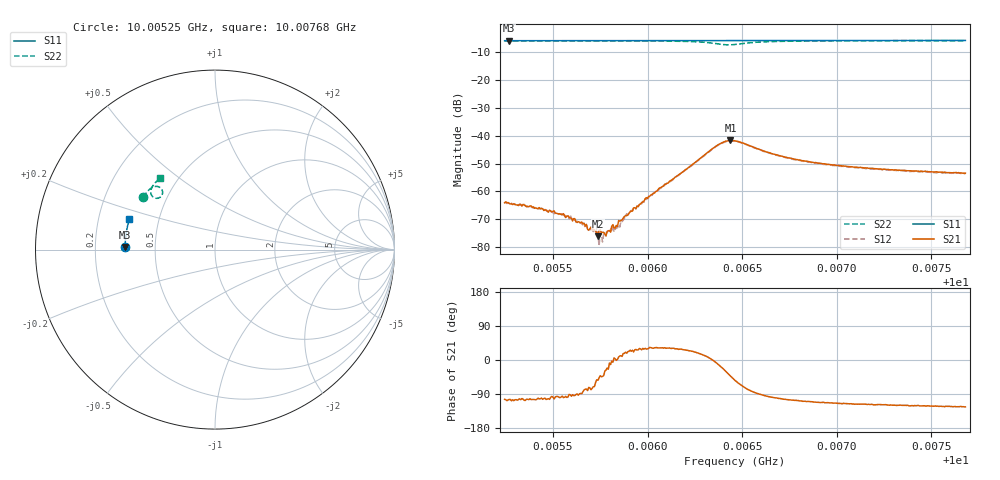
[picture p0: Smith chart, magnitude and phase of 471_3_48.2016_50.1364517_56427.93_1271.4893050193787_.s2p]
#  HZ  S  RI  R  50.00
! Rohde & Schwarz Vector Network Analyzer
! Rohde-Schwarz,ZNB20-2Port,1311601062101988,3.16
! Created: UTC 3/20/2024, 11:57:10 AM
! freq[Hz]  re:S11  im:S11  re:S21  im:S21  re:S12  im:S12  re:S22  im:S22
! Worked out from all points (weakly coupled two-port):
!   401 points, 10.00525 GHz to 10.00768 GHz, reference 50 ohm
!   highest |S21| = -41.73 dB at 10.00644 GHz (marker M1); lowest = -76.1 dB at 10.00574 GHz (marker M2)
!   lowest |S11| = -6.0 dB at 10.00527 GHz (marker M3), VSWR 3.01, Z = 16.6 + j0.636 ohm
!   |S11| at or under -10 dB: nowhere
!   |S22| runs from -7.5 to -6.0 dB; largest |S21 - S12| = 0.00051
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1.0005245e10  -0.5007 0.0128  -0.000148 -0.000608  -0.00012 -0.000616  -0.4005 0.2916
1.0005269e10  -0.5006 0.0143  -0.000149 -0.000588  -0.000148 -0.000595  -0.3996 0.2932
1.0005434e10  -0.5005 0.025  -0.000103 -0.000477  -0.000106 -0.000483  -0.393 0.3028
1.0005549e10  -0.5003 0.0326  -3.49e-05 -0.000379  -3.92e-05 -0.000395  -0.3878 0.3097
1.0005604e10  -0.5002 0.0362  -8.37e-06 -0.000296  -5.24e-06 -0.000317  -0.3853 0.3131
1.0005653e10  -0.5001 0.0394  5.77e-06 -0.000282  1.61e-05 -0.000261  -0.3829 0.316
1.0005726e10  -0.4998 0.0441  9.98e-05 -0.000168  0.000111 -0.000141  -0.3793 0.3205
1.0005738e10  -0.4998 0.0448  9.37e-05 -0.000126  9.58e-05 -0.000153  -0.3786 0.3213
1.0005756e10  -0.4997 0.0462  0.000131 -0.000127  0.000121 -0.000124  -0.3776 0.3224
1.0005768e10  -0.4997 0.0467  0.000139 -0.000123  0.000134 -0.000103  -0.3769 0.3232
1.0005793e10  -0.4996 0.0484  0.00018 -8.06e-05  0.000192 -4.44e-05  -0.3757 0.3247
1.0005805e10  -0.4995 0.0492  0.000182 -3.87e-05  0.000218 -3.75e-05  -0.3749 0.3253
1.0005835e10  -0.4993 0.0512  0.000246 -4.42e-06  0.000224 3.13e-06  -0.373 0.3274
1.0005902e10  -0.499 0.0557  0.000376 0.000158  0.000384 0.000162  -0.369 0.3316
1.0006061e10  -0.4981 0.0658  0.000963 0.0006  0.000888 0.000596  -0.3562 0.3424
1.0006365e10  -0.4952 0.0853  0.0065 -0.0009  0.00645 -0.000577  -0.2942 0.3308
1.0006438e10  -0.4945 0.0896  0.00608 -0.0055  0.00621 -0.00501  -0.3055 0.2917
1.0006462e10  -0.4941 0.091  0.00476 -0.00651  0.00502 -0.0061  -0.3188 0.286
1.0006675e10  -0.4927 0.1045  -0.000799 -0.00452  -0.000559 -0.00443  -0.358 0.3273
1.000687e10  -0.4901 0.117  -0.00115 -0.00313  -0.000999 -0.0031  -0.3497 0.3504
1.0007278e10  -0.4842 0.1427  -0.0012 -0.00213  -0.00105 -0.00215  -0.3283 0.3773
1.0007679e10  -0.4772 0.1677  -0.00118 -0.00176  -0.00109 -0.00177  -0.3077 0.3973
